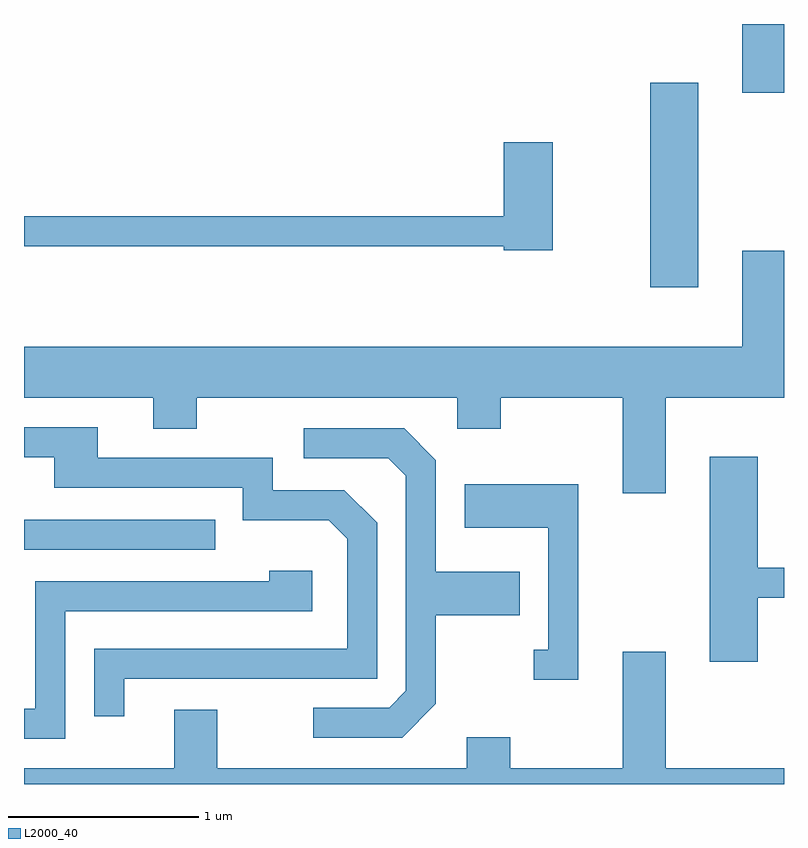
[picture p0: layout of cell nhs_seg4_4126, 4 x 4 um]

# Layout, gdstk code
import gdstk
lib = gdstk.Library(unit=1e-6, precision=1e-09)
def R(c, l, rs):  # rectangles x0, y0, x1, y1
    for r in rs: c.add(gdstk.rectangle(r[:2], r[2:], *l))
def P(c, l, *ps):  # polygons
    for p in ps: c.add(gdstk.Polygon(p, *l))
L2000_40 = (2000, 40)

nhs_seg4_4126 = lib.new_cell('nhs_seg4_4126')
R(nhs_seg4_4126, L2000_40, [(305.611,1347.216,306.618,1347.374), (308.906,1348.596,309.159,1349.674), (309.391,1349.621,309.611,1349.982)])
P(nhs_seg4_4126, L2000_40, [(308.394,1349.359),(308.136,1349.359),(308.136,1348.969),(305.611,1348.969),(305.611,1348.811),(308.136,1348.811),(308.136,1348.791),(308.394,1348.791)],
  [(308.989,1348.016),(309.611,1348.016),(309.611,1348.789),(309.391,1348.789),(309.391,1348.284),(305.611,1348.284),(305.611,1348.016),(306.291,1348.016),(306.291,1347.851),(306.519,1347.851),(306.519,1348.016),(307.891,1348.016),(307.891,1347.851),(308.119,1347.851),(308.119,1348.016),(308.761,1348.016),(308.761,1347.511),(308.989,1347.511)],
  [(306.139,1346.536),(307.469,1346.536),(307.469,1347.357),(307.297,1347.529),(306.919,1347.529),(306.919,1347.699),(305.999,1347.699),(305.999,1347.859),(305.611,1347.859),(305.611,1347.701),(305.771,1347.701),(305.771,1347.541),(306.761,1347.541),(306.761,1347.371),(307.214,1347.371),(307.311,1347.274),(307.311,1346.694),(305.981,1346.694),(305.981,1346.338),(306.139,1346.338)],
  [(307.779,1346.404),(307.779,1346.871),(308.219,1346.871),(308.219,1347.099),(307.779,1347.099),(307.779,1347.687),(307.612,1347.854),(307.083,1347.854),(307.083,1347.696),(307.529,1347.696),(307.621,1347.604),(307.621,1346.472),(307.534,1346.384),(307.133,1346.384),(307.133,1346.226),(307.602,1346.226)],
  [(309.474,1346.961),(309.611,1346.961),(309.611,1347.119),(309.474,1347.119),(309.474,1347.704),(309.221,1347.704),(309.221,1346.626),(309.474,1346.626)],
  [(308.529,1347.559),(307.931,1347.559),(307.931,1347.331),(308.371,1347.331),(308.371,1346.689),(308.293,1346.689),(308.293,1346.531),(308.529,1346.531)],
  [(305.829,1346.891),(307.129,1346.891),(307.129,1347.104),(306.901,1347.104),(306.901,1347.049),(305.671,1347.049),(305.671,1346.379),(305.611,1346.379),(305.611,1346.221),(305.829,1346.221)],
  [(309.611,1346.064),(308.989,1346.064),(308.989,1346.679),(308.761,1346.679),(308.761,1346.064),(308.169,1346.064),(308.169,1346.229),(307.941,1346.229),(307.941,1346.064),(306.629,1346.064),(306.629,1346.374),(306.401,1346.374),(306.401,1346.064),(305.611,1346.064),(305.611,1345.982),(309.611,1345.982)])

lib.write_gds('nhs_seg4_4126.gds')
